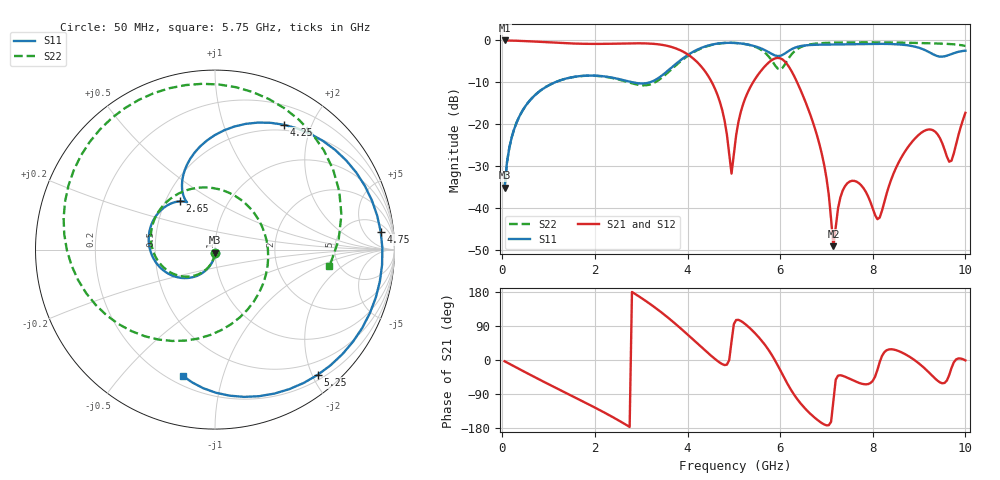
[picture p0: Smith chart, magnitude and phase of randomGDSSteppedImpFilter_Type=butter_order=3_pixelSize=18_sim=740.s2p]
! freq	dB(S11)	phase(S11)	dB(S12)	phase(S12)
!  dB(S21)	phase(S21)	dB(S22)	phase(S22)
!S-par simulation data
#  GHz  S  DB  R 50
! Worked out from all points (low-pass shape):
!   200 points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, 50 MHz to 10 GHz, reference 50 ohm
!   highest |S21| = -0.02 dB at 50 MHz (marker M1); lowest = -49.1 dB at 7.15 GHz (marker M2)
!   |S21| within 3 dB of the highest: start of sweep to 3.956 GHz
!   lowest |S11| = -35.1 dB at 50 MHz (marker M3), VSWR 1.04, Z = 50 - j1.75 ohm
!   |S11| at or under -10 dB: start of sweep to 1.137 GHz; 2.816 GHz to 3.185 GHz (368.5 MHz wide, 12.3 % of centre)
!   |S22| runs from -35.1 to -0.5 dB; largest |S21 - S12| = 0
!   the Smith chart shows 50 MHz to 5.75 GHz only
!   S11 on the Smith chart (normalised r, x): 50 MHz: 1.00, -0.04; 2.65 GHz: 0.59, +0.36; 4.25 GHz: 0.43, +1.61; 4.75 GHz: 9, +13; 5.25 GHz: 0.28, -2.08; 5.75 GHz: 0.25, -0.74
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0.05  -35.12 -89.2  -0.02 -3.3  -0.02 -3.3  -35.12 -89.4
0.5  -15.67 -121.8  -0.17 -32.5  -0.17 -32.5  -15.68 -123.7
1.75  -8.45 165.9  -0.81 -109.9  -0.81 -109.9  -8.47 153.3
2.65  -9.57 126.0  -0.73 -169.3  -0.73 -169.3  -9.75 75.3
3.4  -8.76 119.6  -0.98 129.0  -0.98 129.0  -9.28 -44.2
4.25  -2.00 61.2  -5.66 39.6  -5.66 39.6  -2.14 -167.6
4.75  -0.64 6.1  -16.66 -10.9  -16.66 -10.9  -0.66 133.8
4.95  -0.59 -16.6  -31.77 48.7  -31.77 48.7  -0.58 111.4
5.05  -0.64 -28.0  -22.57 105.6  -22.57 105.6  -0.62 100.1
5.25  -0.89 -50.7  -13.69 94.4  -13.69 94.4  -0.89 76.6
5.75  -2.80 -104.5  -5.31 26.5  -5.31 26.5  -3.81 -8.3
5.95  -3.74 -117.0  -4.17 -14.7  -4.17 -14.7  -6.74 -85.6
6.15  -2.77 -129.3  -5.67 -60.9  -5.67 -60.9  -4.86 174.7
6.7  -1.07 161.8  -19.28 -147.4  -19.28 -147.4  -0.86 65.0
7.15  -0.98 105.7  -49.07 -108.3  -49.07 -108.3  -0.54 25.4
7.45  -0.92 70.3  -34.07 -46.8  -34.07 -46.8  -0.49 5.2
8.1  -0.82 -0.1  -42.64 -26.2  -42.64 -26.2  -0.48 -31.4
8.35  -0.86 -26.3  -34.71 28.0  -34.71 28.0  -0.50 -43.8
8.9  -1.47 -94.7  -23.53 -0.1  -23.53 -0.1  -0.60 -69.1
9.25  -3.00 -170.1  -21.24 -37.4  -21.24 -37.4  -0.70 -84.4
9.55  -3.80 90.7  -26.03 -60.6  -26.03 -60.6  -0.80 -97.8
10  -2.47 -11.4  -17.27 -1.0  -17.27 -1.0  -1.32 -121.4
